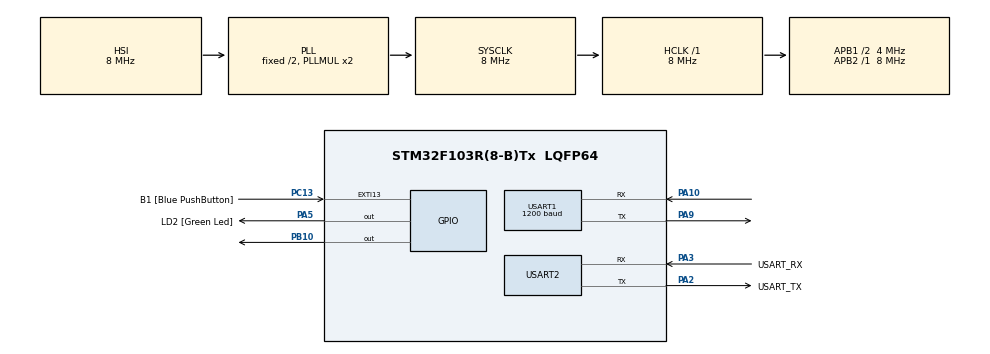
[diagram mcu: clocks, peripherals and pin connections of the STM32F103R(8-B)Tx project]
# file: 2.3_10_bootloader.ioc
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Mcu.Family=STM32F1
Mcu.Name=STM32F103R(8-B)Tx
Mcu.Package=LQFP64
NVIC.EXTI15_10_IRQn=true\:0\:0\:false\:false\:true\:true\:true
NVIC.PriorityGroup=NVIC_PRIORITYGROUP_4
PA10.Mode=Asynchronous
PA10.Signal=USART1_RX
PA13.GPIO_Label=TMS
PA13.Mode=Serial_Wire
PA13.Signal=SYS_JTMS-SWDIO
PA14.GPIO_Label=TCK
PA14.Mode=Serial_Wire
PA14.Signal=SYS_JTCK-SWCLK
PA2.GPIO_Label=USART_TX
PA2.GPIO_Mode=GPIO_MODE_AF_PP
PA2.GPIO_PuPd=GPIO_NOPULL
PA2.GPIO_Speed=GPIO_SPEED_FREQ_LOW
PA2.Mode=Asynchronous
PA2.Signal=USART2_TX
PA3.GPIO_Label=USART_RX
PA3.GPIO_Mode=GPIO_MODE_AF_PP
PA3.GPIO_PuPd=GPIO_NOPULL
PA3.GPIO_Speed=GPIO_SPEED_FREQ_LOW
PA3.Mode=Asynchronous
PA3.Signal=USART2_RX
PA5.GPIO_Label=LD2 [Green Led]
PA5.GPIO_ModeDefaultOutputPP=GPIO_MODE_OUTPUT_PP
PA5.GPIO_PuPd=GPIO_NOPULL
PA5.GPIO_Speed=GPIO_SPEED_FREQ_LOW
PA5.Signal=GPIO_Output
PA9.Mode=Asynchronous
PA9.Signal=USART1_TX
PB10.Signal=GPIO_Output
PB3.GPIO_Label=SWO
PB3.Signal=SYS_JTDO-TRACESWO
PC13-TAMPER-RTC.GPIO_Label=B1 [Blue PushButton]
PC13-TAMPER-RTC.GPIO_PuPd=GPIO_NOPULL
PC13-TAMPER-RTC.Signal=GPXTI13
PC14-OSC32_IN.Mode=LSE-External-Oscillator
PC14-OSC32_IN.Signal=RCC_OSC32_IN
PC15-OSC32_OUT.Mode=LSE-External-Oscillator
PC15-OSC32_OUT.Signal=RCC_OSC32_OUT
PD0-OSC_IN.Mode=HSE-External-Clock-Source
PD0-OSC_IN.Signal=RCC_OSC_IN
PD1-OSC_OUT.Mode=HSE-External-Clock-Source
PD1-OSC_OUT.Signal=RCC_OSC_OUT
ProjectManager.HeapSize=0x200
ProjectManager.StackSize=0x400
ProjectManager.TargetToolchain=STM32CubeIDE
RCC.AHBFreq_Value=8000000
RCC.APB1CLKDivider=RCC_HCLK_DIV2
RCC.APB1Freq_Value=4000000
RCC.APB1TimFreq_Value=8000000
RCC.APB2Freq_Value=8000000
RCC.APB2TimFreq_Value=8000000
RCC.HCLKFreq_Value=8000000
RCC.RTCClockSelection=RCC_RTCCLKSOURCE_LSE
RCC.SYSCLKFreq_VALUE=8000000
RCC.SYSCLKSource=RCC_SYSCLKSOURCE_PLLCLK
RCC.USBFreq_Value=8000000
USART1.BaudRate=1200
USART1.VirtualMode=VM_ASYNC
USART2.VirtualMode=VM_ASYNC
board=NUCLEO-F103RB

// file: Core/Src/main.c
/* USER CODE BEGIN Header */
/**
  ******************************************************************************
  * @file           : main.c
  * @brief          : Main program body
  ******************************************************************************
  * @attention
  *
  * <h2><center>&copy; Copyright (c) 2021 STMicroelectronics.
  * All rights reserved.</center></h2>
  *
  * This software component is licensed by ST under BSD 3-Clause license,
  * the "License"; You may not use this file except in compliance with the
  * License. You may obtain a copy of the License at:
  *                        opensource.org/licenses/BSD-3-Clause
  *
  ******************************************************************************
  */
/* USER CODE END Header */
#include "main.h"

/* USER CODE BEGIN Includes */
#include <stdio.h>
#include "../lib/uart.h"
#include "../lib/addresses.h"
/* USER CODE END Includes */

UART_HandleTypeDef huart1;
UART_HandleTypeDef huart2;

/* USER CODE BEGIN PV */
uint8_t flag = BOOTLOADER; //результат прохождения этапов прошивке

/* USER CODE END PV */

void SystemClock_Config(void);
static void MX_GPIO_Init(void);
static void MX_USART1_UART_Init(void);
static void MX_USART2_UART_Init(void);

int main(void)
{

  /* MCU Configuration--------------------------------------------------------*/

  /* Reset of all peripherals, Initializes the Flash interface and the Systick. */
  HAL_Init();

  /* Configure the system clock */
  SystemClock_Config();

  /* Initialize all configured peripherals */
  MX_GPIO_Init();
  MX_USART1_UART_Init();
  MX_USART2_UART_Init();
  /* USER CODE BEGIN 2 */
  printf("rcc->csr = %lu\n", RCC->CSR);
  /* USER CODE END 2 */

  /* Infinite loop */
  /* USER CODE BEGIN WHILE */
    if (*(__IO uint32_t*)BOOTLOADER_FLAG_ADDRESS == BOOTLOADER) { //если в памяти 'BOOTLOADER', то начинаем процесс прошивки 08018C00
    	uint8_t value[46]; //значение, считанное с uart
    	uint8_t dataLength = dataCreate((char*)value, BOOTLOADER, 0); //готовим данные для отмашки к началу передачи прошивки от esp
    	//	  uint8_t lineLength;
    	//		  uint8_t dataSense;
		size_t	currentAddress = 0x08000000, //адрес, в который пишем сейчас. нужен главным образом для хранения расширенного адреса
			currentMinAddress = 0x0, //адрес начала блока стертой памяти (в которую сейчас пишем)
			currentMaxAddress = 0x0; //конец блока стертой памяти
    	HEXData hex; //структура для расшифрованного пакета c hex-данных
    	union { //структура для записи данных в память (для HAL_FLASH_Program(uint32_t TypeProgram, uint32_t Address, uint64_t Data))
    		uint8_t *buf8;
    		uint32_t* buf32;
    	} hexBuf;
    	hexBuf.buf8 = hex.buf; //вносим адрес буфера с данными
    	static uint32_t PAGEError; // = 0xFFFFFFFF;
    	FLASH_EraseInitTypeDef EraseInitStruct; //структура для стирания блока памяти
    	EraseInitStruct.TypeErase = FLASH_TYPEERASE_PAGES; //стираем постранично
    	EraseInitStruct.NbPages = 1; //по одной странице за раз
    	HAL_FLASH_Unlock();
    	EraseInitStruct.PageAddress = currentMinAddress; //стираем первую страницу
    	if (HAL_UART_Transmit(&huart1, value, dataLength, 200) == HAL_OK) { //отправляем запрос на начало передачи прошивки
    		uint8_t counter = 0x5;
        	while ((HAL_GPIO_ReadPin(GPIOC, B1_Pin) != GPIO_PIN_RESET) //ждем нажатия кнопки, мигая диодом
        			&& (--counter)) {
        		printf("counter");
        		HAL_GPIO_WritePin(GPIOB, GPIO_PIN_10, GPIO_PIN_SET);
        		HAL_Delay(1000);
        		HAL_GPIO_WritePin(GPIOB, GPIO_PIN_10, GPIO_PIN_RESET);
        		HAL_Delay(200);
        	}
    		printf("\n end counter");
        	if (counter) { //если нажата кнопка, мигаем и переходим к прошивке
       			counter = 0xf;
       			for (int i = 0; i < 5; i++) {
       	    		printf("\ncounter 2");
       				HAL_GPIO_WritePin(GPIOB, GPIO_PIN_10, GPIO_PIN_SET);
           			HAL_Delay(50);
           			HAL_GPIO_WritePin(GPIOB, GPIO_PIN_10, GPIO_PIN_RESET);
           			HAL_Delay(10);
       			}
       			flag = BOOTLOADER;
        	} else {
        		flag = FLASH_DONE;
        	}
    		printf("\n end counter 2");

    		while ((HAL_UART_Receive(&huart1, value, 1, 10000) == HAL_OK) //читаем первый байт пакета
    				&& (--counter)
					&& (flag != FLASH_DONE)
					&& (flag != CRITICAL_ERROR)) {
    			//printf("\nwhile ((HAL_UART_Receive(&huart1, value, 1, 2000) == HAL_OK)");
    			if (value[0] == ':') { //ищем начало hex-строки
    				//printf("\nif (value[0] == ':')");
    				if (HAL_UART_Receive(&huart1, &value[1], 2, 10000) == HAL_OK) {//читаем длину hex-строки
    					//printf("\nif (HAL_UART_Receive(&huart1, &value[1], 2, 2000) == HAL_OK) {//читаем длину hex-строки");
    					dataLength = chars2int((char*)&value[1]); //if ((dataLength = chars2int((char*)&value[1])) != DATA_ERROR) {
        					//printf("\nif ((dataLength = chars2int((char*)&value[1])) != DATA_ERROR) {");
    						if (HAL_UART_Receive(&huart1, &value[3], ((dataLength << 1) + 8), 10000) == HAL_OK) { //читаем hex-строку
    							//printf("\nif (HAL_UART_Receive(&huart1, &value[3], ((dataLength << 1) + 8), 2000) == HAL_OK) { //читаем hex-строку");
    							if (dataHEXDecrypt32BitBuf(&hex, (char*)value, dataLength) != DATA_ERROR) { //далее исходим из уверенности, что данные доставлены без повреждений
    	    						//printf("\nif (dataHEXDecrypt(&hex, (char*)value, dataLength) != DATA_ERROR) {");
    	    						switch (hex.dataType) {
    	    						case 0 : { //пишем данные
    	    							//printf("\ncase 0 :\n");
    	    							//for (int i=0; i<dataLength; i++) printf("%x", hex.buf[i]);
    	    							//printf("\n");
    	    							currentAddress = (currentAddress & 0xffff0000) + hex.address;
    	    							//printf("\ncurrentAddress=%x; currentAddress + dataLength=%x; upA=%x; ", currentAddress, (currentAddress + dataLength), upperAddress);
    	    							if ((currentAddress >= FIRMWARE_START_ADDRESS) && ((currentAddress + dataLength) < UPPER_ADDRESS)) { //проверяем лежит ли полученный пакет в пределах допустимой для записи памяти
    	    								//printf("\ncurrA=%x; currentMinAddress=%x; currentMaxAddress=%x; ", currentAddress, currentMinAddress, currentMaxAddress);
    	    								if (currentAddress < currentMinAddress) {//|| (currentAddress > currentMaxAddress)) { //данные идут не последовательно
    	    									printf("--------error------------ if ((currentAddress < currentMinAddress)) {");
    	    									flag = CRITICAL_ERROR;
    	    									break;
    										} else {
    											if (currentAddress > currentMaxAddress) {
        											currentMinAddress = ((currentAddress >> 10) << 10); //адрес страницы для стирания - содержит currentAddress
        											currentMaxAddress = currentMinAddress + PAGE_SIZE;
        											EraseInitStruct.PageAddress = currentMinAddress; //стираем страницу
        											printf("\n!!!HAL_FLASHEx_Erase currA=%x; currentMinAddress=%x; currentMaxAddress=%x; ", currentAddress, currentMinAddress, currentMaxAddress);
        											if (HAL_FLASHEx_Erase(&EraseInitStruct, &PAGEError) != HAL_OK) {
        												flag = CRITICAL_ERROR;
        												break;
        											}
    											}
    											if ((currentAddress + dataLength) >= currentMaxAddress) { //выходят данные для записи за пределы стертой страницы?
    												currentMinAddress = ((currentAddress >> 10) + 1) << 10; //адрес страницы для стирания - содержит (currentAddress + dataLength)
    												currentMaxAddress = currentMinAddress + PAGE_SIZE;
    												EraseInitStruct.PageAddress = currentMinAddress; //стираем страницу
    												printf("\n***HAL_FLASHEx_Erase currA=%x; currentMinAddress=%x; currentMaxAddress=%x; ", currentAddress, currentMinAddress, currentMaxAddress);
    												if (HAL_FLASHEx_Erase(&EraseInitStruct, &PAGEError) != HAL_OK) {
    													flag = CRITICAL_ERROR;
    													break;
    												}
    											}
    										}
    	    								//если дошди до этого места без ошибок, начинаем запись
    	    								for (uint8_t i = 0; i < hex.dataSize; i+=4) {
    	    									if (HAL_FLASH_Program(FLASH_TYPEPROGRAM_WORD, (currentAddress + i), *hexBuf.buf32) != HAL_OK) {
    	    										flag = CRITICAL_ERROR;
    									  			break;
    									  		}
    	    									hexBuf.buf32++;
    	    								}
    	    								//printf("\nHAL_FLASH_Program from=%x to=%x; size=%d;", currentAddress, currentAddress+dataLength, dataLength);
        	    			        		HAL_GPIO_WritePin(GPIOB, GPIO_PIN_10, GPIO_PIN_SET);
        	    			        		HAL_Delay(10);
        	    			        		HAL_GPIO_WritePin(GPIOB, GPIO_PIN_10, GPIO_PIN_RESET);
    	    								counter = 0xf;
	    	    							flag = DATA_OK;
  		    	    						hexBuf.buf8 = hex.buf;
    	    							} else { //if ((currentAddress >= lowerAddress) && ((currentAddress + dataLength) < upperAddress)) { //проверяем лежит ли полученный пакет в пределах допустимой для записи памяти
    	    								flag = CRITICAL_ERROR;
    	    							}
    	    							break;
    	    						} //case 0 : { //пишем данные
    	    						case 4 : { //пишем расширенный адрес
    	    							currentAddress = hex.buf[0];
    	    							currentAddress <<= 8;
    	    							currentAddress += hex.buf[1];
    	    							currentAddress <<= 16;
    	    							printf("\ncase : 4; currA = %x", currentAddress);
    	    							counter = 0xf;
    	    							flag = DATA_OK;
    	    							break;
    	    						}
    	    						case 1 : { //конец файла, завершаем запись
    	    							printf("\ncase 1 :");
										EraseInitStruct.PageAddress = BOOTLOADER_FLAG_ADDRESS; //стираем страницу
										printf("\n***HAL_FLASHEx_Erase currA=%x; currentMinAddress=%x; currentMaxAddress=%x; ", currentAddress, currentMinAddress, currentMaxAddress);
										if (HAL_FLASHEx_Erase(&EraseInitStruct, &PAGEError) != HAL_OK) {
											flag = CRITICAL_ERROR;
											break;
										}
						        		HAL_GPIO_WritePin(GPIOB, GPIO_PIN_10, GPIO_PIN_SET);
						        		HAL_Delay(2000);
						        		HAL_GPIO_WritePin(GPIOB, GPIO_PIN_10, GPIO_PIN_RESET);
						        		HAL_Delay(1000);
						        		HAL_GPIO_WritePin(GPIOB, GPIO_PIN_10, GPIO_PIN_SET);
						        		HAL_Delay(2000);
						        		HAL_GPIO_WritePin(GPIOB, GPIO_PIN_10, GPIO_PIN_RESET);
						        		HAL_Delay(1000);
						        		HAL_GPIO_WritePin(GPIOB, GPIO_PIN_10, GPIO_PIN_SET);
						        		HAL_Delay(2000);
						        		HAL_GPIO_WritePin(GPIOB, GPIO_PIN_10, GPIO_PIN_RESET);
    	    							flag = FLASH_DONE;
    	    							break;
    	    						}
    	    						case 5 : {
    	    							printf("\ncase : 5");
    	    							counter = 0xf;
    	    							flag = DATA_OK;
    	    							break;
    	    						}
    	    						} //switch (hex.dataType) {
    							} else { //if (dataHEXDecrypt32BitBuf(&hex, (char*)value, dataLength) != DATA_ERROR) { //далее исходим из уверенности, что данные доставлены без повреждений
    	    						printf("\n---error--- if (dataHEXDecrypt(&hex, (char*)value, dataLength) != DATA_ERROR) {");
    	    						flag = DATA_ERROR;
    							}
    						} else { //if (HAL_UART_Receive(&huart1, &value[3], ((dataLength << 1) + 8), 10000) == HAL_OK) { //читаем hex-строку
        						printf("\n---error--- if (HAL_UART_Receive(&huart1, &value[3], ((dataLength << 1) + 8), 2000) == HAL_OK) { //читаем hex-строку");
        						flag = DATA_ERROR;
    						}
    				} else { //if (HAL_UART_Receive(&huart1, &value[1], 2, 2000) == HAL_OK) {//читаем длину hex-строки
						printf("\n---error--- if (HAL_UART_Receive(&huart1, &value[1], 2, 2000) == HAL_OK) {//читаем длину hex-строки");
    					flag = DATA_ERROR;
    				}
    				//printf("\nsend flag = %u\n", flag);
					//for (int i=0; i<dataLength; i++) printf("%x", hex.buf[i]);
					//printf("\n");
    				dataLength = dataCreate((char*)value, flag, 0);
    				HAL_UART_Transmit(&huart1, value, dataLength, 200);
    			} //if (value[0] == ':') { //ищем начало hex-строки
    		} //while ((HAL_UART_Receive(&huart1, value, 1, 10000) == HAL_OK) //читаем первый байт пакета
    	} //if (HAL_UART_Transmit(&huart1, value, dataLength, 200) == HAL_OK) { //отправляем запрос на начало передачи прошивки
    	HAL_FLASH_Lock();
    } //if (*(__IO uint32_t*)0x08018C00 == 9) { //если в памяти '9', то начинаем процесс прошивки
	HAL_Delay(1000);
    if (flag != CRITICAL_ERROR) {
    	void (*GoToFirmware)(void);
		GoToFirmware = (void (*)(void)) *((volatile uint32_t*)(FIRMWARE_START_ADDRESS + 4));
		HAL_DeInit();
		__disable_irq();
		__set_MSP(*((volatile uint32_t*)FIRMWARE_START_ADDRESS));
		GoToFirmware();
	}

  while (1)
  {
	  HAL_GPIO_WritePin(GPIOB, GPIO_PIN_10, GPIO_PIN_SET);
	  HAL_Delay(100);
	  HAL_GPIO_WritePin(GPIOB, GPIO_PIN_10, GPIO_PIN_RESET);
	  HAL_Delay(100);
	  HAL_GPIO_WritePin(GPIOB, GPIO_PIN_10, GPIO_PIN_SET);
	  HAL_Delay(100);
	  HAL_GPIO_WritePin(GPIOB, GPIO_PIN_10, GPIO_PIN_RESET);
	  HAL_Delay(100);
	  HAL_GPIO_WritePin(GPIOB, GPIO_PIN_10, GPIO_PIN_SET);
	  HAL_Delay(100);
	  HAL_GPIO_WritePin(GPIOB, GPIO_PIN_10, GPIO_PIN_RESET);
	  HAL_Delay(2000);
    /* USER CODE END WHILE */

  }
}

void SystemClock_Config(void)
{
  RCC_OscInitTypeDef RCC_OscInitStruct = {0};
  RCC_ClkInitTypeDef RCC_ClkInitStruct = {0};

  /** Initializes the RCC Oscillators according to the specified parameters
  * in the RCC_OscInitTypeDef structure.
  */
  RCC_OscInitStruct.OscillatorType = RCC_OSCILLATORTYPE_HSI;
  RCC_OscInitStruct.HSIState = RCC_HSI_ON;
  RCC_OscInitStruct.HSICalibrationValue = RCC_HSICALIBRATION_DEFAULT;
  RCC_OscInitStruct.PLL.PLLState = RCC_PLL_ON;
  RCC_OscInitStruct.PLL.PLLSource = RCC_PLLSOURCE_HSI_DIV2;
  RCC_OscInitStruct.PLL.PLLMUL = RCC_PLL_MUL2;
  if (HAL_RCC_OscConfig(&RCC_OscInitStruct) != HAL_OK)
  {
    Error_Handler();
  }
  /** Initializes the CPU, AHB and APB buses clocks
  */
  RCC_ClkInitStruct.ClockType = RCC_CLOCKTYPE_HCLK|RCC_CLOCKTYPE_SYSCLK
                              |RCC_CLOCKTYPE_PCLK1|RCC_CLOCKTYPE_PCLK2;
  RCC_ClkInitStruct.SYSCLKSource = RCC_SYSCLKSOURCE_PLLCLK;
  RCC_ClkInitStruct.AHBCLKDivider = RCC_SYSCLK_DIV1;
  RCC_ClkInitStruct.APB1CLKDivider = RCC_HCLK_DIV2;
  RCC_ClkInitStruct.APB2CLKDivider = RCC_HCLK_DIV1;

  if (HAL_RCC_ClockConfig(&RCC_ClkInitStruct, FLASH_LATENCY_0) != HAL_OK)
  {
    Error_Handler();
  }
}

static void MX_USART1_UART_Init(void)
{

  huart1.Instance = USART1;
  huart1.Init.BaudRate = 1200;
  huart1.Init.WordLength = UART_WORDLENGTH_8B;
  huart1.Init.StopBits = UART_STOPBITS_1;
  huart1.Init.Parity = UART_PARITY_NONE;
  huart1.Init.Mode = UART_MODE_TX_RX;
  huart1.Init.HwFlowCtl = UART_HWCONTROL_NONE;
  huart1.Init.OverSampling = UART_OVERSAMPLING_16;
  if (HAL_UART_Init(&huart1) != HAL_OK)
  {
    Error_Handler();
  }

}

static void MX_USART2_UART_Init(void)
{

  huart2.Instance = USART2;
  huart2.Init.BaudRate = 115200;
  huart2.Init.WordLength = UART_WORDLENGTH_8B;
  huart2.Init.StopBits = UART_STOPBITS_1;
  huart2.Init.Parity = UART_PARITY_NONE;
  huart2.Init.Mode = UART_MODE_TX_RX;
  huart2.Init.HwFlowCtl = UART_HWCONTROL_NONE;
  huart2.Init.OverSampling = UART_OVERSAMPLING_16;
  if (HAL_UART_Init(&huart2) != HAL_OK)
  {
    Error_Handler();
  }

}

static void MX_GPIO_Init(void)
{
  GPIO_InitTypeDef GPIO_InitStruct = {0};

  /* GPIO Ports Clock Enable */
  __HAL_RCC_GPIOC_CLK_ENABLE();
  __HAL_RCC_GPIOD_CLK_ENABLE();
  __HAL_RCC_GPIOA_CLK_ENABLE();
  __HAL_RCC_GPIOB_CLK_ENABLE();

  /*Configure GPIO pin Output Level */
  HAL_GPIO_WritePin(LD2_GPIO_Port, LD2_Pin, GPIO_PIN_RESET);

  /*Configure GPIO pin Output Level */
  HAL_GPIO_WritePin(GPIOB, GPIO_PIN_10, GPIO_PIN_RESET);

  /*Configure GPIO pin : B1_Pin */
  GPIO_InitStruct.Pin = B1_Pin;
  GPIO_InitStruct.Mode = GPIO_MODE_IT_RISING;
  GPIO_InitStruct.Pull = GPIO_NOPULL;
  HAL_GPIO_Init(B1_GPIO_Port, &GPIO_InitStruct);

  /*Configure GPIO pin : LD2_Pin */
  GPIO_InitStruct.Pin = LD2_Pin;
  GPIO_InitStruct.Mode = GPIO_MODE_OUTPUT_PP;
  GPIO_InitStruct.Pull = GPIO_NOPULL;
  GPIO_InitStruct.Speed = GPIO_SPEED_FREQ_LOW;
  HAL_GPIO_Init(LD2_GPIO_Port, &GPIO_InitStruct);

  /*Configure GPIO pin : PB10 */
  GPIO_InitStruct.Pin = GPIO_PIN_10;
  GPIO_InitStruct.Mode = GPIO_MODE_OUTPUT_PP;
  GPIO_InitStruct.Pull = GPIO_NOPULL;
  GPIO_InitStruct.Speed = GPIO_SPEED_FREQ_LOW;
  HAL_GPIO_Init(GPIOB, &GPIO_InitStruct);

  /* EXTI interrupt init*/
  HAL_NVIC_SetPriority(EXTI15_10_IRQn, 0, 0);
  HAL_NVIC_EnableIRQ(EXTI15_10_IRQn);

}

/* USER CODE BEGIN 4 */

int _write(int file, char *ptr, int len) {
	//int i = 1;
	for (int i = 0; i < len; i++) {
		ITM_SendChar((*ptr++));
	}
	return len;
}
/* USER CODE END 4 */

void Error_Handler(void)
{
  __disable_irq();
  while (1)
  {
  }
}

/************************ (C) COPYRIGHT STMicroelectronics *****END OF FILE****/
